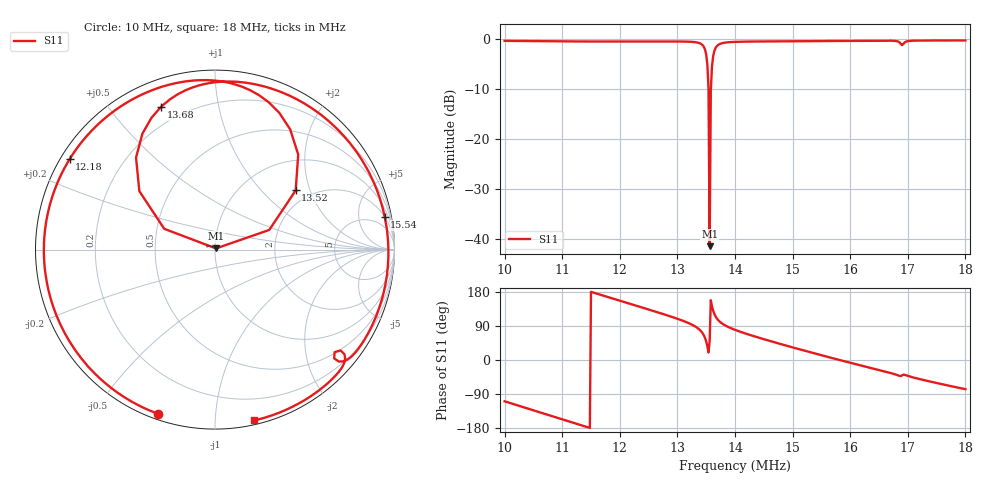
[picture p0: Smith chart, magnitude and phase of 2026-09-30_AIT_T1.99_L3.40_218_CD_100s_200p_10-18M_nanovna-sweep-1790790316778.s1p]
! NanoVNA Web complex sweep
! Processing: original sample grid, no browser smoothing
# Hz S RI R 50
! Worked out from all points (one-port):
!   401 points, 10 MHz to 18 MHz, reference 50 ohm
!   lowest |S11| = -41.4 dB at 13.56 MHz (marker M1), VSWR 1.02, Z = 50.5 + j0.66 ohm
!   |S11| at or under -10 dB: 13.5401 MHz to 13.58124 MHz (41.15 kHz wide, 0.303 % of centre)
!   S11 on the Smith chart (normalised r, x): 10 MHz: 0.02, -0.71; 12.18 MHz: 0.03, +0.29; 13.52 MHz: 1.67, +1.60; 13.68 MHz: 0.12, +0.68; 15.54 MHz: 2, +10; 18 MHz: 0.03, -1.25
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1e7  -0.3149 -0.9158
1.046e7  -0.6301 -0.7278
1.1e7  -0.8778 -0.38
1.15e7  -0.9535 0.00337
1.2e7  -0.8743 0.3804
1.218e7  -0.8102 0.5034
1.3e7  -0.3077 0.9034
1.334e7  0.0744 0.9301
1.342e7  0.2439 0.8612
1.346e7  0.3588 0.7614
1.35e7  0.4636 0.5295
1.352e7  0.4495 0.33
1.356e7  0.00549 0.00652
1.36e7  -0.4216 0.3259
1.362e7  -0.4399 0.5127
1.368e7  -0.3006 0.7957
1.378e7  -0.0942 0.9135
1.4e7  0.1702 0.9301
1.446e7  0.5231 0.7985
1.5e7  0.8014 0.5256
1.554e7  0.9457 0.1832
1.6e7  0.9594 -0.1209
1.646e7  0.881 -0.4104
1.68e7  0.7498 -0.6046
1.688e7  0.6643 -0.6062
1.7e7  0.7148 -0.6432
1.744e7  0.5079 -0.8333
1.8e7  0.2183 -0.952
